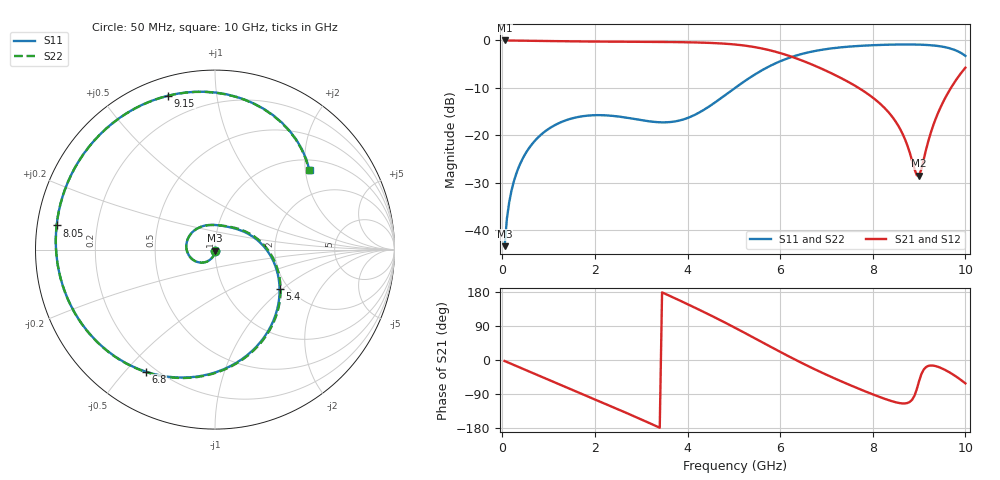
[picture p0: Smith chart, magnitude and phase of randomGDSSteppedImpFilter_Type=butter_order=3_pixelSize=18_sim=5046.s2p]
! freq	dB(S11)	phase(S11)	dB(S12)	phase(S12)
!  dB(S21)	phase(S21)	dB(S22)	phase(S22)
!S-par simulation data
#  GHz  S  DB  R 50
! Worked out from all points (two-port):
!   200 points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, 50 MHz to 10 GHz, reference 50 ohm
!   highest |S21| = 0.00 dB at 50 MHz (marker M1); lowest = -28.5 dB at 9 GHz (marker M2)
!   |S21| within 3 dB of the highest: start of sweep to 6.114 GHz
!   lowest |S11| = -43.4 dB at 50 MHz (marker M3), VSWR 1.01, Z = 50 - j0.675 ohm
!   |S11| at or under -10 dB: start of sweep to 5.03 GHz
!   |S22| runs from -43.4 to -0.9 dB; largest |S21 - S12| = 0
!   S11 on the Smith chart (normalised r, x): 50 MHz: 1.00, -0.01; 5.4 GHz: 1.80, -0.95; 6.8 GHz: 0.16, -0.57; 8.05 GHz: 0.06, +0.08; 9.15 GHz: 0.08, +0.74; 10 GHz: 1.26, +2.11
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0.05  -43.41 -90.6  -0.00 -2.7  -0.00 -2.7  -43.41 -90.6
0.1  -37.55 -93.8  -0.01 -5.3  -0.01 -5.3  -37.55 -93.7
0.2  -31.64 -99.9  -0.02 -10.5  -0.02 -10.5  -31.64 -99.9
0.5  -23.89 -116.5  -0.06 -26.2  -0.06 -26.2  -23.89 -116.3
1.15  -17.79 -150.7  -0.15 -59.9  -0.15 -59.9  -17.79 -150.4
1.75  -15.97 177.9  -0.22 -90.9  -0.22 -90.9  -15.97 178.6
2.5  -16.05 138.3  -0.27 -130.1  -0.27 -130.1  -16.04 139.6
3.4  -17.27 88.6  -0.31 -178.7  -0.31 -178.7  -17.27 91.1
3.85  -16.84 62.8  -0.36 156.0  -0.36 156.0  -16.84 65.7
4.35  -14.66 33.7  -0.47 126.8  -0.47 126.8  -14.66 36.4
5.05  -9.86 -8.9  -0.88 83.5  -0.88 83.5  -9.86 -7.0
5.4  -7.52 -31.2  -1.33 60.8  -1.33 60.8  -7.52 -29.7
6  -4.40 -70.2  -2.66 21.5  -2.66 21.5  -4.40 -69.1
6.7  -2.32 -113.7  -5.13 -21.8  -5.13 -21.8  -2.33 -112.9
6.8  -2.14 -119.6  -5.55 -27.6  -5.55 -27.6  -2.14 -118.8
7.45  -1.33 -156.2  -8.64 -63.2  -8.64 -63.2  -1.34 -155.6
8.05  -0.99 171.3  -12.44 -93.0  -12.44 -93.0  -0.99 171.8
8.35  -0.90 154.9  -15.26 -106.3  -15.26 -106.3  -0.90 155.3
9  -0.89 116.7  -28.51 -55.8  -28.51 -55.8  -0.89 117.1
9.15  -0.95 107.0  -23.07 -18.7  -23.07 -18.7  -0.95 107.4
9.6  -1.51 74.6  -11.49 -28.7  -11.49 -28.7  -1.51 74.9
10  -3.26 39.9  -5.75 -61.7  -5.75 -61.7  -3.26 40.3
